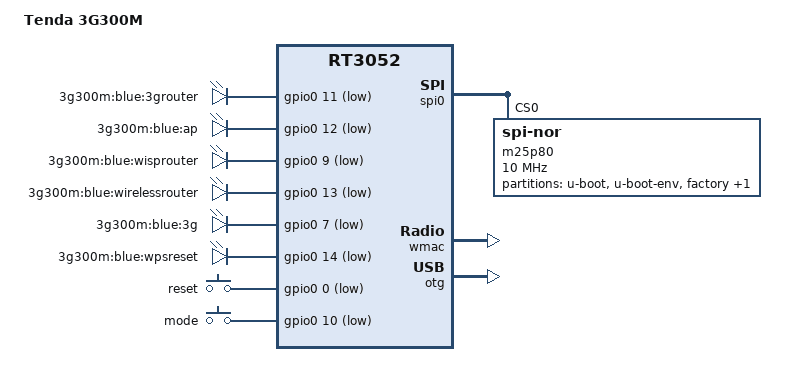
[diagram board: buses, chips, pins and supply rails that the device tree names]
/dts-v1/;

#include "rt3050.dtsi"

/ {
	compatible = "3G300M", "ralink,rt3052-soc";
	model = "Tenda 3G300M";

	gpio-leds {
		compatible = "gpio-leds";

		3grouter {
			label = "3g300m:blue:3grouter";
			gpios = <&gpio0 11 1>;
		};

		ap {
			label = "3g300m:blue:ap";
			gpios = <&gpio0 12 1>;
		};

		wisprouter {
			label = "3g300m:blue:wisprouter";
			gpios = <&gpio0 9 1>;
		};

		wirelessrouter {
			label = "3g300m:blue:wirelessrouter";
			gpios = <&gpio0 13 1>;
		};

		3g {
			label = "3g300m:blue:3g";
			gpios = <&gpio0 7 1>;
		};

		wpsreset {
			label = "3g300m:blue:wpsreset";
			gpios = <&gpio0 14 1>;
		};
	};

	gpio-keys-polled {
		compatible = "gpio-keys-polled";
		#address-cells = <1>;
		#size-cells = <0>;
		poll-interval = <20>;

		reset {
			label = "reset";
			gpios = <&gpio0 0 1>;
			linux,code = <0x198>;
		};

		mode {
			label = "mode";
			gpios = <&gpio0 10 1>;
			linux,code = <0x100>;
		};
	};
};

&spi0 {
	status = "okay";

	m25p80@0 {
		#address-cells = <1>;
		#size-cells = <1>;
		compatible = "jedec,spi-nor";
		reg = <0>;
		linux,modalias = "m25p80", "mx25l3205d";
		spi-max-frequency = <10000000>;

		partition@0 {
			label = "u-boot";
			reg = <0x0 0x30000>;
			read-only;
		};

		partition@30000 {
			label = "u-boot-env";
			reg = <0x30000 0x10000>;
			read-only;
		};

		factory: partition@40000 {
			label = "factory";
			reg = <0x40000 0x10000>;
			read-only;
		};

		partition@50000 {
			label = "firmware";
			reg = <0x50000 0x3b0000>;
		};
	};
};

&pinctrl {
	state_default: pinctrl0 {
		gpio {
			ralink,group = "i2c", "jtag", "rgmii", "mdio", "uartf";
			ralink,function = "gpio";
		};
	};
};

&ethernet {
	mtd-mac-address = <&factory 0x4>;
};

&esw {
	mediatek,portmap = <0x2f>;
};

&wmac {
	ralink,mtd-eeprom = <&factory 0>;
};

&otg {
	status = "okay";
};
